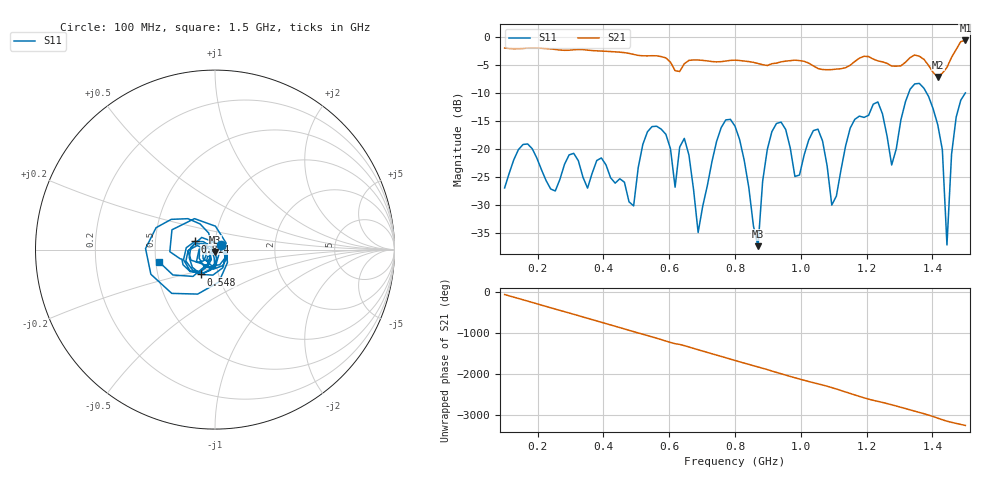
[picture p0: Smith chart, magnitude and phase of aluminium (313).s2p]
! NanoVNA-App
! Date: 2025-09-25 14:57:43
! Start: 100MHz Stop: 1,5GHz Points: 101
! S-Parameter data: F S11 S21 S12 S22
# Hz S RI R 50
!  Frequency  S11_Real  S11_Imag  S21_Real  S21_Imag  S12_Real  S12_Imag  S22_Real  S22_Imag
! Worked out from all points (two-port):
!   101 points, 100 MHz to 1.5 GHz, reference 50 ohm
!   highest |S21| = -0.56 dB at 1.5 GHz (marker M1); lowest = -7.1 dB at 1.416 GHz (marker M2)
!   |S21| within 3 dB of the highest: start of sweep to 582.6 MHz; 1.458 GHz to end of sweep (the widest 2 of 4)
!   lowest |S11| = -37.4 dB at 870 MHz (marker M3), VSWR 1.03, Z = 49.9 - j1.35 ohm
!   |S11| at or under -10 dB: start of sweep to 1.328 GHz; 1.383 GHz to 1.499 GHz (116.9 MHz wide, 8.11 % of centre)
!   S12 and S22 are empty: the file has one direction only
!   S11 on the Smith chart (normalised r, x): 100 MHz: 1.07, +0.06; 548 MHz: 0.82, -0.23; 814 MHz: 0.79, +0.07; 1.5 GHz: 0.52, -0.08
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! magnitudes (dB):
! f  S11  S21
! 100 MHz  -27.0  -1.9
! 338 MHz  -25.0  -2.2
! 492 MHz  -30.2  -3.1
! 548 MHz  -16.0  -3.3
! 576 MHz  -16.5  -3.5
! 618 MHz  -26.8  -6.0
! 646 MHz  -18.1  -4.7
! 688 MHz  -34.9  -4.1
! 800 MHz  -15.9  -4.1
! 814 MHz  -18.3  -4.1
! 870 MHz  -37.4  -4.7
! 912 MHz  -16.9  -4.7
! 982 MHz  -24.9  -4.1
! 1.038 GHz  -16.7  -5.1
! 1.094 GHz  -30.0  -5.8
! 1.22 GHz  -12.0  -3.9
! 1.276 GHz  -22.9  -5.1
! 1.346 GHz  -8.3  -3.2
! 1.416 GHz  -15.6  -7.1
! 1.444 GHz  -37.2  -5.4
! 1.458 GHz  -20.9  -3.6
! 1.5 GHz  -9.9  -0.6
